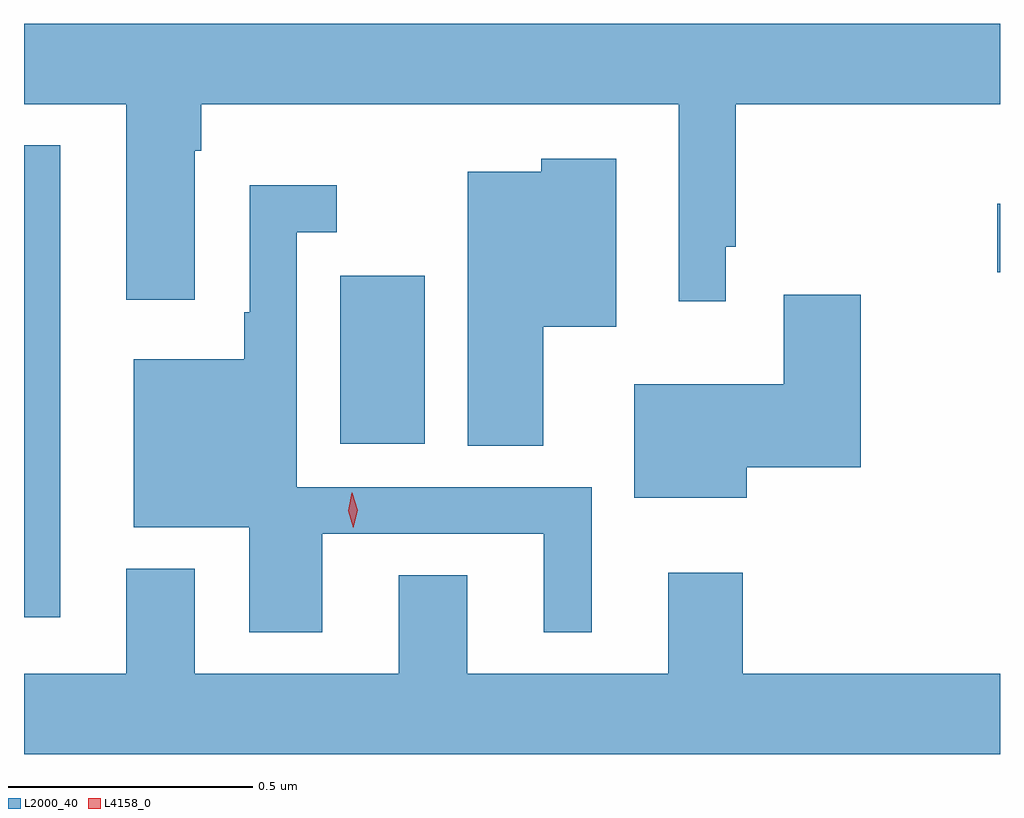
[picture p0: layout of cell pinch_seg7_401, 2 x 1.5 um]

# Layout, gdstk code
import gdstk
lib = gdstk.Library(unit=1e-6, precision=1e-09)
def R(c, l, rs):  # rectangles x0, y0, x1, y1
    for r in rs: c.add(gdstk.rectangle(r[:2], r[2:], *l))
def P(c, l, *ps):  # polygons
    for p in ps: c.add(gdstk.Polygon(p, *l))
L2000_40 = (2000, 40)
L4158_0 = (4158, 0)

pinch_seg7_401 = lib.new_cell('pinch_seg7_401')
R(pinch_seg7_401, L2000_40, [(552.287,1035.528,552.361,1036.495), (552.935,1035.884,553.108,1036.228), (554.281,1036.235,554.287,1036.376)])
P(pinch_seg7_401, L2000_40, [(553.725,1036.288),(553.745,1036.288),(553.745,1036.58),(554.287,1036.58),(554.287,1036.744),(552.287,1036.744),(552.287,1036.58),(552.497,1036.58),(552.497,1036.179),(552.637,1036.179),(552.637,1036.484),(552.65,1036.484),(552.65,1036.58),(553.629,1036.58),(553.629,1036.176),(553.725,1036.176)],
  [(553.351,1036.124),(553.501,1036.124),(553.501,1036.468),(553.347,1036.468),(553.347,1036.441),(553.196,1036.441),(553.196,1035.88),(553.351,1035.88)],
  [(552.898,1035.699),(553.352,1035.699),(553.352,1035.498),(553.45,1035.498),(553.45,1035.795),(552.846,1035.795),(552.846,1036.317),(552.928,1036.317),(552.928,1036.414),(552.75,1036.414),(552.75,1036.153),(552.738,1036.153),(552.738,1036.057),(552.512,1036.057),(552.512,1035.713),(552.749,1035.713),(552.749,1035.498),(552.898,1035.498)],
  [(553.768,1035.836),(554.002,1035.836),(554.002,1036.189),(553.844,1036.189),(553.844,1036.006),(553.538,1036.006),(553.538,1035.773),(553.768,1035.773)],
  [(554.287,1035.412),(553.76,1035.412),(553.76,1035.619),(553.607,1035.619),(553.607,1035.412),(553.195,1035.412),(553.195,1035.614),(553.055,1035.614),(553.055,1035.412),(552.637,1035.412),(552.637,1035.628),(552.497,1035.628),(552.497,1035.412),(552.287,1035.412),(552.287,1035.248),(554.287,1035.248)])
P(pinch_seg7_401, L4158_0, [(552.962,1035.712),(552.962,1035.712),(552.951,1035.747),(552.959,1035.783),(552.96,1035.783),(552.96,1035.783),(552.971,1035.748),(552.962,1035.712)])

lib.write_gds('pinch_seg7_401.gds')
